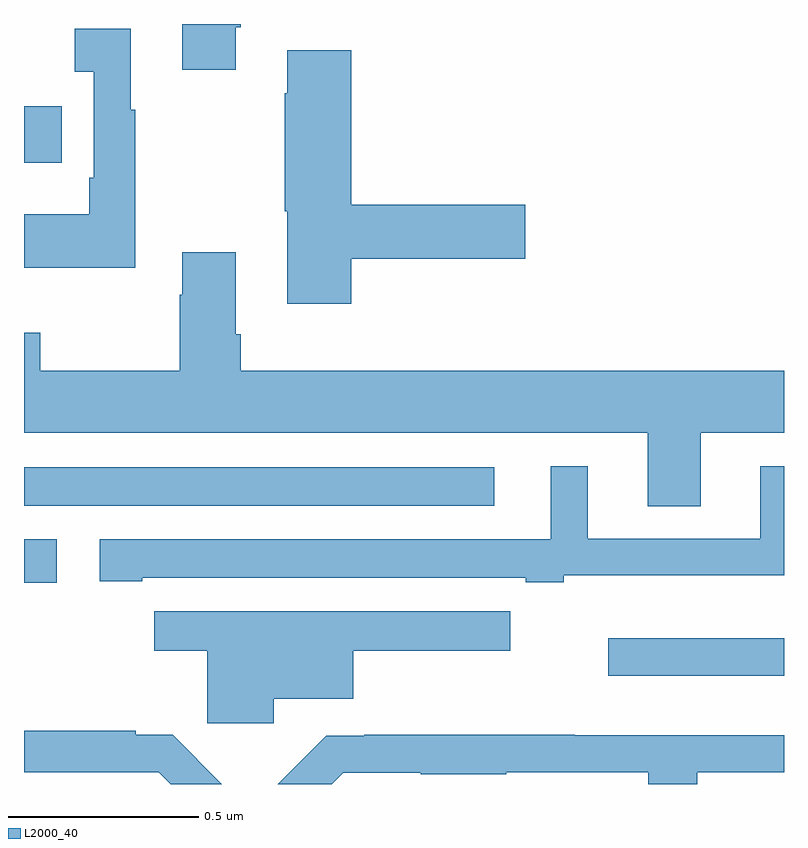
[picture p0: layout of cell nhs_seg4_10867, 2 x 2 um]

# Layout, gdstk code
import gdstk
lib = gdstk.Library(unit=1e-6, precision=1e-09)
def R(c, l, rs):  # rectangles x0, y0, x1, y1
    for r in rs: c.add(gdstk.rectangle(r[:2], r[2:], *l))
def P(c, l, *ps):  # polygons
    for p in ps: c.add(gdstk.Polygon(p, *l))
L2000_40 = (2000, 40)

nhs_seg4_10867 = lib.new_cell('nhs_seg4_10867')
R(nhs_seg4_10867, L2000_40, [(246.537,792.185,247,792.283), (245,792.43,245.086,792.544), (245,792.632,246.238,792.733), (245,793.535,245.099,793.683)])
P(nhs_seg4_10867, L2000_40, [(245.557,793.891),(245.57,793.891),(245.57,793.9),(245.417,793.9),(245.417,793.779),(245.557,793.779)],
  [(245.293,793.675),(245.281,793.675),(245.281,793.888),(245.133,793.888),(245.133,793.775),(245.184,793.775),(245.184,793.495),(245.172,793.495),(245.172,793.399),(245,793.399),(245,793.259),(245.293,793.259)],
  [(245.861,793.282),(246.319,793.282),(246.319,793.424),(245.861,793.424),(245.861,793.831),(245.693,793.831),(245.693,793.718),(245.686,793.718),(245.686,793.407),(245.693,793.407),(245.693,793.164),(245.861,793.164)],
  [(246.781,792.824),(247,792.824),(247,792.988),(245.57,792.988),(245.57,793.084),(245.557,793.084),(245.557,793.3),(245.417,793.3),(245.417,793.187),(245.41,793.187),(245.41,792.988),(245.043,792.988),(245.043,793.087),(245,793.087),(245,792.824),(246.641,792.824),(246.641,792.631),(246.781,792.631)],
  [(246.42,792.449),(247,792.449),(247,792.736),(246.938,792.736),(246.938,792.546),(246.484,792.546),(246.484,792.736),(246.386,792.736),(246.386,792.544),(245.199,792.544),(245.199,792.433),(245.311,792.433),(245.311,792.443),(246.32,792.443),(246.32,792.431),(246.42,792.431)],
  [(245.657,792.125),(245.866,792.125),(245.866,792.251),(246.28,792.251),(246.28,792.355),(245.343,792.355),(245.343,792.251),(245.482,792.251),(245.482,792.06),(245.657,792.06)],
  [(245.392,792.03),(245.294,792.03),(245.294,792.04),(245,792.04),(245,791.931),(245.355,791.931),(245.386,791.9),(245.521,791.9)],
  [(245.84,791.93),(246.044,791.93),(246.044,791.926),(246.269,791.926),(246.269,791.931),(246.643,791.931),(246.643,791.9),(246.772,791.9),(246.772,791.931),(247,791.931),(247,792.028),(246.449,792.028),(246.449,792.03),(245.896,792.03),(245.896,792.027),(245.795,792.027),(245.668,791.9),(245.81,791.9)])

lib.write_gds('nhs_seg4_10867.gds')
